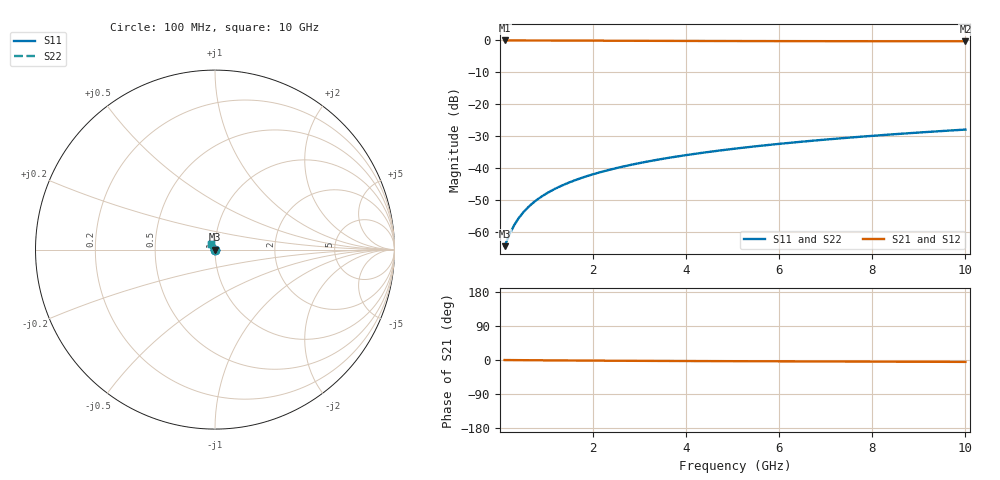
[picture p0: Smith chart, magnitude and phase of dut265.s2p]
! Touchstone file exported from HFSS 2024.1.0
!  File:  C:/UserFiles/LocalFiles/RDL_TSV_Batchsim/temp_TSV1_265_1779391881.aedt
!  Generated:  03:37:01 AM May 22, 2026
!  Design:  TSV1
!  Project:  temp_TSV1_265_1779391881
!  Setup:  Setup1
!  Solution:  Sweep
! Variables:
!  dtsv = 5.28um
!  hbump = 3um
!  htsv = 67.93um
!  lrdl = 252.1521522um
!  p = 40
!  p1 = 58.72um
!  t = 500um
!  trdl = 3um
!  wrdl = 24.89489489um
# GHz S MA R 50.000000
! Terminal data exported
! Port[1] = TSV22_T1
! Port[2] = TSV22_T2
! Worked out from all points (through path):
!   100 points, 100 MHz to 10 GHz, reference 50 ohm
!   highest |S21| = 0.00 dB at 100 MHz (marker M1); lowest = -0.3 dB at 10 GHz (marker M2)
!   lowest |S11| = -64.6 dB at 100 MHz (marker M3), VSWR 1.00, Z = 50 - j0.041 ohm
!   |S11| at or under -10 dB: start of sweep to end of sweep
!   |S22| runs from -64.6 to -28.0 dB; largest |S21 - S12| = 6.1e-15
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0.1  0.0005913 -43.9  0.9995 -0.1  0.9995 -0.1  0.0005913 -43.9
! Gamma 0 0 0 0
! Port Impedance 50 0 50 0
0.2  0.0008925 -66.5  0.9995 -0.2  0.9995 -0.2  0.0008925 -66.5
0.3  0.001246 -78.8  0.9993 -0.3  0.9993 -0.3  0.001246 -78.8
0.4  0.00162 -87.0  0.9992 -0.4  0.9992 -0.4  0.00162 -87.0
0.5  0.002004 -93.2  0.999 -0.5  0.999 -0.5  0.002004 -93.2
0.6  0.002393 -98.3  0.9987 -0.6  0.9987 -0.6  0.002393 -98.3
0.7  0.002786 -102.8  0.9984 -0.6  0.9984 -0.6  0.002786 -102.8
0.9  0.003576 -110.7  0.9978 -0.8  0.9978 -0.8  0.003576 -110.7
1  0.003972 -114.2  0.9974 -0.9  0.9974 -0.9  0.003972 -114.2
1.2  0.004765 -120.9  0.9965 -1.1  0.9965 -1.1  0.004765 -120.9
1.5  0.005955 -130.1  0.9951 -1.3  0.9951 -1.3  0.005955 -130.1
1.8  0.007146 -138.5  0.9936 -1.5  0.9936 -1.5  0.007146 -138.5
2.1  0.008336 -146.3  0.992 -1.7  0.992 -1.7  0.008336 -146.3
2.5  0.009922 -155.7  0.9898 -2.0  0.9898 -2.0  0.009922 -155.7
2.9  0.01151 -164.2  0.9876 -2.2  0.9876 -2.2  0.01151 -164.2
3.4  0.01349 -173.7  0.9851 -2.4  0.9851 -2.4  0.01349 -173.7
4.2  0.01667 173.6  0.9816 -2.8  0.9816 -2.8  0.01667 173.6
5.1  0.02024 162.2  0.9784 -3.2  0.9784 -3.2  0.02024 162.2
5.9  0.02343 154.0  0.9762 -3.5  0.9762 -3.5  0.02343 154.0
6.7  0.02663 147.1  0.9743 -3.8  0.9743 -3.8  0.02663 147.1
8.4  0.03345 135.9  0.9714 -4.4  0.9714 -4.4  0.03345 135.9
10  0.03993 128.2  0.9693 -5.0  0.9693 -5.0  0.03993 128.2
